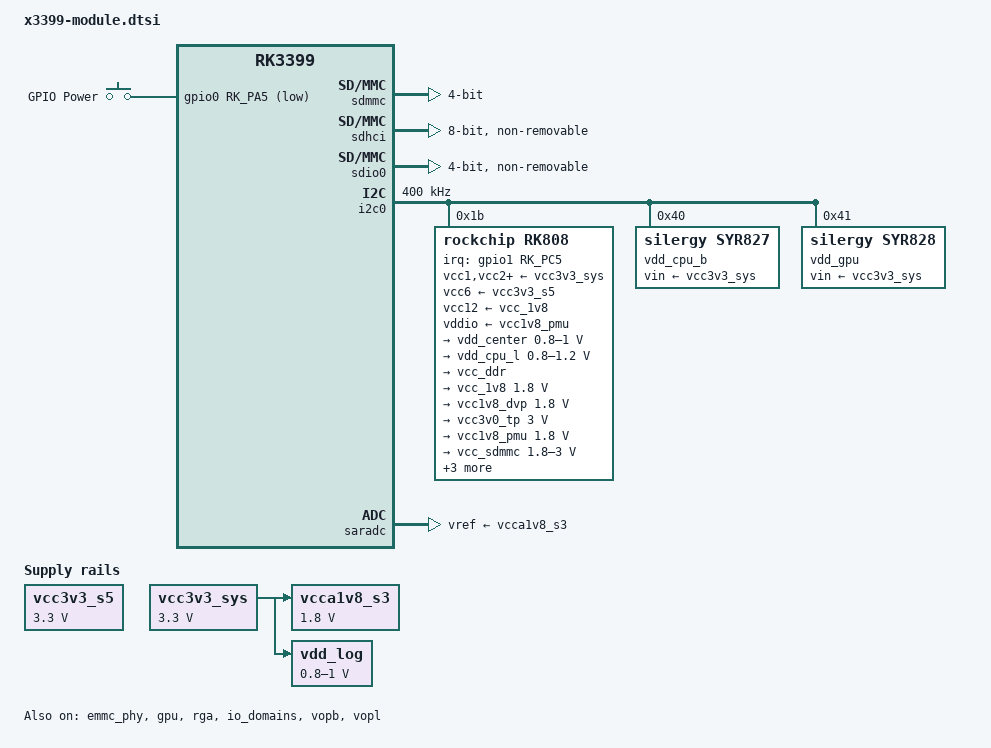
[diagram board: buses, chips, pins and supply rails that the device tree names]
// SPDX-License-Identifier: (GPL-2.0+ OR MIT)
/*
 * Copyright (C) Oleksii Gulchenko <alexey.gulchenko@gmail.com>
 */

/dts-v1/;

#include "rk3399.dtsi"
#include "rk3399-opp.dtsi"

/ {
/* ------------------------------------------------------------------ */
    /* Standby supply 3.3v */
    vcc3v3_s5: vcc3v3-s5 {
        compatible = "regulator-fixed";
        regulator-name = "VCC3V3_S5";
        regulator-always-on;
        regulator-boot-on;
        regulator-min-microvolt = <3300000>;
        regulator-max-microvolt = <3300000>;
    };

    /* System supply 3.3v */
    vcc3v3_sys: vcc3v3-sys {
        compatible = "regulator-fixed";
        regulator-name = "VCC3V3_SYS";
        regulator-always-on;
        regulator-boot-on;
        regulator-min-microvolt = <3300000>;
        regulator-max-microvolt = <3300000>;
    };

    /* switched by pmic_sleep */
    vcca1v8_s3: vcca1v8-s3 {
        compatible = "regulator-fixed";
        regulator-name = "VCCA1V8_S3";
        regulator-always-on;
        regulator-boot-on;
        regulator-min-microvolt = <1800000>;
        regulator-max-microvolt = <1800000>;
        vin-supply = <&vcc3v3_sys>;
    };

    vdd_log: vdd-logic {
        compatible = "pwm-regulator";
        pwms = <&pwm2 0 25000 1>;
        regulator-name = "VDD_LOGIC";
        regulator-always-on;
        regulator-boot-on;
        regulator-min-microvolt = <800000>;
        regulator-max-microvolt = <1000000>;
        vin-supply = <&vcc3v3_sys>;

        /* for rockchip boot on */
        rockchip,pwm_id= <2>;
        rockchip,pwm_voltage = <900000>;
    };

/* ------------------------------------------------------------------ */
    keys: gpio-keys {
        compatible = "gpio-keys";
        autorepeat;

        power {
            debounce-interval = <100>;
            gpios = <&gpio0 RK_PA5 GPIO_ACTIVE_LOW>;
            label = "GPIO Power";
            linux,code = <KEY_POWER>;
            linux,input-type = <1>;
            wakeup-source;
        };
    };
};

&cpu_l0 {
    cpu-supply = <&vdd_cpu_l>;
};

&cpu_l1 {
    cpu-supply = <&vdd_cpu_l>;
};

&cpu_l2 {
    cpu-supply = <&vdd_cpu_l>;
};

&cpu_l3 {
    cpu-supply = <&vdd_cpu_l>;
};

&cpu_b0 {
    cpu-supply = <&vdd_cpu_b>;
};

&cpu_b1 {
    cpu-supply = <&vdd_cpu_b>;
};

//&dfi {
//  status = "okay";
//};

//&dmc {
//  status = "okay";
//  center-supply = <&vdd_center>;
//  upthreshold = <60>;
//  downdifferential = <40>;
//};

&emmc_phy {
    status = "okay";
};

&gpu {
    mali-supply = <&vdd_gpu>;
    status = "okay";
};

&rga {
    status = "okay";
};

&hdmi {
    ddc-i2c-bus = <&i2c3>;

    #address-cells = <1>;
    #size-cells = <0>;
    #sound-dai-cells = <0>;
};

&sdmmc {
    pinctrl-names = "default";
    pinctrl-0 = <&sdmmc_clk &sdmmc_cmd &sdmmc_bus4 &sdmmc_cd>;
    bus-width = <4>;
    cap-mmc-highspeed;
    cap-sd-highspeed;
    vqmmc-supply = <&vcc_sdmmc>;
    disable-wp;
};

&sdhci {
    assigned-clock-rates = <150000000>;
    bus-width = <8>;
    mmc-hs400-1_8v;
    mmc-hs400-enhanced-strobe;
    non-removable;
};

/* SDIO -------------------------------------------------------------- */
&sdio0 {
    #address-cells = <1>;
    #size-cells = <0>;

    pinctrl-names = "default";
    pinctrl-0 = <&sdio0_bus4 &sdio0_cmd &sdio0_clk>;

    bus-width = <4>;
    cap-sdio-irq;
    cap-sd-highspeed;
    cap-power-off-card;
    keep-power-in-suspend;
    non-removable;
    broken-cd;
    no-sd;
    no-mmc;
    disable-wp;
};

&pmu_io_domains {
    status = "okay";

    pmu1830-supply = <&vcc_1v8>;        /* PMUIO2_VDD */
};

&io_domains {
    status = "okay";

    bt656-supply = <&vcc_1v8>;          /* APIO2_VDD */
    audio-supply = <&vcca1v8_codec>;    /* APIO5_VDD */
    gpio1830-supply = <&vcc_3v0>;       /* APIO4_VDD */
};

&i2c0 {
    clock-frequency = <400000>;
    i2c-scl-rising-time-ns = <168>;
    i2c-scl-falling-time-ns = <4>;
    status = "okay";

    rk808: pmic@1b {
        compatible = "rockchip,rk808";
        reg = <0x1b>;
        interrupt-parent = <&gpio1>;
        interrupts = <RK_PC5 IRQ_TYPE_LEVEL_LOW>;
        #clock-cells = <1>;
        clock-output-names = "xin32k", "rk808-clkout2";
        pinctrl-names = "default";
        pinctrl-0 = <&pmic_int_l &pmic_dvs2>;
        rockchip,system-power-controller;
        wakeup-source;

        vcc1-supply = <&vcc3v3_sys>;
        vcc2-supply = <&vcc3v3_sys>;
        vcc3-supply = <&vcc3v3_sys>;
        vcc4-supply = <&vcc3v3_sys>;
        vcc6-supply = <&vcc3v3_s5>;
        vcc7-supply = <&vcc3v3_sys>;
        vcc8-supply = <&vcc3v3_sys>;
        vcc9-supply = <&vcc3v3_sys>;
        vcc10-supply = <&vcc3v3_sys>;
        vcc11-supply = <&vcc3v3_sys>;
        vcc12-supply = <&vcc_1v8>;
        vddio-supply = <&vcc1v8_pmu>;

        regulators {
            vdd_center: DCDC_REG1 {
                regulator-name = "VDD_CENTER";
                regulator-always-on;
                regulator-boot-on;
                regulator-min-microvolt = <800000>;
                regulator-max-microvolt = <1000000>;
                regulator-ramp-delay = <6001>;
                regulator-state-mem {
                    regulator-off-in-suspend;
                };
            };

            vdd_cpu_l: DCDC_REG2 {
                regulator-name = "VDD_CPU_L";
                regulator-always-on;
                regulator-boot-on;
                regulator-min-microvolt = <800000>;
                regulator-max-microvolt = <1200000>;
                regulator-ramp-delay = <6001>;
                regulator-state-mem {
                    regulator-off-in-suspend;
                };
            };

            vcc_ddr: DCDC_REG3 {
                regulator-name = "VCC_DDR";
                regulator-always-on;
                regulator-boot-on;
                regulator-state-mem {
                    regulator-on-in-suspend;
                };
            };

            vcc_1v8: DCDC_REG4 {
                regulator-name = "VCC_1V8";
                regulator-always-on;
                regulator-boot-on;
                regulator-min-microvolt = <1800000>;
                regulator-max-microvolt = <1800000>;
                regulator-state-mem {
                    regulator-on-in-suspend;
                    regulator-suspend-microvolt = <1800000>;
                };
            };

            vcc1v8_dvp: LDO_REG1 {
                regulator-name = "VCC_1V8_DVP";
                regulator-always-on;
                regulator-boot-on;
                regulator-min-microvolt = <1800000>;
                regulator-max-microvolt = <1800000>;
                regulator-state-mem {
                    regulator-off-in-suspend;
                };
            };

            vcc3v0_tp: LDO_REG2 {
                regulator-name = "VCC_3V0_TP";
                regulator-always-on;
                regulator-boot-on;
                regulator-min-microvolt = <3000000>;
                regulator-max-microvolt = <3000000>;
                regulator-state-mem {
                    regulator-off-in-suspend;
                };
            };

            vcc1v8_pmu: LDO_REG3 {
                regulator-name = "VCC_1V8_PMU";
                regulator-always-on;
                regulator-boot-on;
                regulator-min-microvolt = <1800000>;
                regulator-max-microvolt = <1800000>;
                regulator-state-mem {
                    regulator-on-in-suspend;
                    regulator-suspend-microvolt = <1800000>;
                };
            };

            vcc_sdmmc: LDO_REG4 {
                regulator-name = "VCC_SDMMC";
                regulator-always-on;
                regulator-boot-on;
                regulator-min-microvolt = <1800000>;
                regulator-max-microvolt = <3000000>;
                regulator-state-mem {
                    regulator-on-in-suspend;
                    regulator-suspend-microvolt = <3000000>;
                };
            };

            vcca3v0_codec: LDO_REG5 {
                regulator-name = "VCCA_3V0_CODEC";
                regulator-always-on;
                regulator-boot-on;
                regulator-min-microvolt = <3000000>;
                regulator-max-microvolt = <3000000>;
                regulator-state-mem {
                    regulator-off-in-suspend;
                };
            };

            vcc_1v5: LDO_REG6 {
                regulator-name = "VCC_1V5";
                regulator-always-on;
                regulator-boot-on;
                regulator-min-microvolt = <1500000>;
                regulator-max-microvolt = <1500000>;
                regulator-state-mem {
                    regulator-on-in-suspend;
                    regulator-suspend-microvolt = <1500000>;
                };
            };

            vcca1v8_codec: LDO_REG7 {
                regulator-name = "VCCA_1V8_CODEC";
                regulator-always-on;
                regulator-boot-on;
                regulator-min-microvolt = <1800000>;
                regulator-max-microvolt = <1800000>;
                regulator-state-mem {
                    regulator-off-in-suspend;
                };
            };

            vcc_3v0: LDO_REG8 {
                regulator-name = "VCC_3V0";
                regulator-always-on;
                regulator-boot-on;
                regulator-min-microvolt = <3000000>;
                regulator-max-microvolt = <3000000>;
                regulator-state-mem {
                    regulator-on-in-suspend;
                    regulator-suspend-microvolt = <3000000>;
                };
            };

            vcc3v3_s3: vcc_lan: SWITCH_REG1 {
                regulator-name = "VCC_3V3_S3";
                regulator-always-on;
                regulator-boot-on;
                regulator-state-mem {
                    regulator-off-in-suspend;
                };
            };

            vcc3v3_s0: SWITCH_REG2 {
                regulator-name = "VCC_3V3_S0";
                regulator-always-on;
                regulator-boot-on;
                regulator-state-mem {
                    regulator-off-in-suspend;
                };
            };
        };
    };

    vdd_cpu_b: regulator@40 {
        compatible = "silergy,syr827";
        reg = <0x40>;
        fcs,suspend-voltage-selector = <1>;
        regulator-name = "VDD_CPU_B";
        regulator-min-microvolt = <800000>;
        regulator-max-microvolt = <1250000>;
        regulator-ramp-delay = <1000>;
        regulator-always-on;
        regulator-boot-on;
        vin-supply = <&vcc3v3_sys>;

        regulator-state-mem {
            regulator-off-in-suspend;
        };
    };

    vdd_gpu: regulator@41 {
        compatible = "silergy,syr828";
        reg = <0x41>;
        fcs,suspend-voltage-selector = <1>;
        regulator-name = "VDD_GPU";
        regulator-min-microvolt = <800000>;
        regulator-max-microvolt = <1200000>;
        regulator-ramp-delay = <1000>;
        regulator-always-on;
        regulator-boot-on;
        vin-supply = <&vcc3v3_sys>;

        regulator-state-mem {
            regulator-off-in-suspend;
        };
    };
};

&pinctrl {
    pmic {
        pmic_int_l: pmic-int-l {
            rockchip,pins = <1 RK_PC5 RK_FUNC_GPIO &pcfg_pull_up>;
        };

        pmic_dvs2: pmic-dvs2 {
            rockchip,pins = <1 RK_PC2 RK_FUNC_GPIO &pcfg_pull_down>;
        };

        vsel1_gpio: vsel1-gpio {
            rockchip,pins = <1 RK_PC1 RK_FUNC_GPIO &pcfg_pull_down>;
        };

        vsel2_gpio: vsel2-gpio {
            rockchip,pins = <1 RK_PB6 RK_FUNC_GPIO &pcfg_pull_down>;
        };
    };
};

&saradc {
    vref-supply = <&vcca1v8_s3>;
    status = "okay";
};

/* VOPx  ------------------------------------------------------------ */
&vopb {
    status = "okay";
};

&vopb_mmu {
    status = "okay";
};

&vopl {
    status = "okay";
};

&vopl_mmu {
    status = "okay";
};

&vpu_mmu {
    status = "okay";
};

